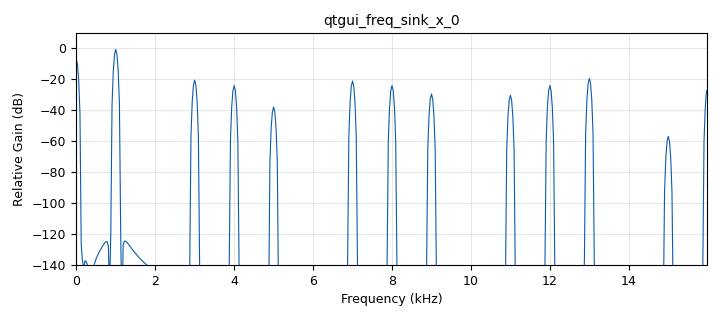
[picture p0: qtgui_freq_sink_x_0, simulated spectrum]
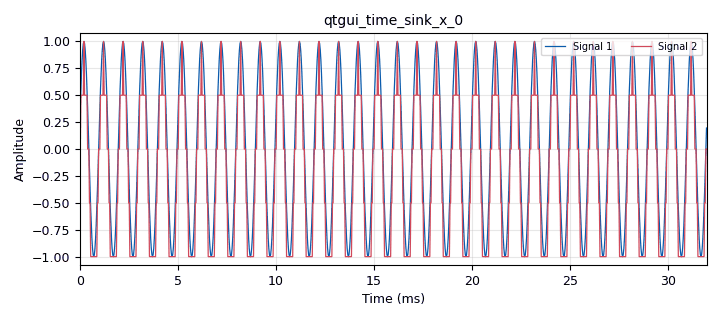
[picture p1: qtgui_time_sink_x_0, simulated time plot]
options:
  parameters:
    author: Steve Hageman
    copyright: None
    description: Test GRC File for Quantizer
    generate_options: qt_gui
    id: quantizer_embedded_python_block
    output_language: python
    title: 'Embedded Python Block: Quantizer'
  states: {}

blocks:
- name: freq
  id: variable_qtgui_range
  parameters:
    label: Signal Frequency
    start: 1e3
    step: '1'
    stop: 6e3
    value: 1e3
  states: {}
- name: samp_rate
  id: variable
  parameters:
    value: '32000'
  states: {}
- name: Quantizer
  id: epy_block
  parameters:
    _source_code: |
      """
      A Simple Signal Quantizer for GNURadio, written as an embedded Python Block.
      Freeware
      Steve Hageman, 30Aug24
      """

      import numpy as np
      from gnuradio import gr


      class blk(gr.sync_block):  # other base classes are basic_block, decim_block, interp_block
          """Embedded Python Block - Quantizer"""

          def __init__(self, bits=255, vref=1.0, clipping=False):  # only default arguments here
              """ bits (int)      = The number of bits to quantize to
                  vref (float)    = The reference voltage, the range is from: (-vref) to (+vref - 1 LSB)
                  clipping (bool) = Flag to specify if the output signal is to be clipped to the
                                    range: (-vref) to (+vref - 1 LSB) as would be in a real ADC or DAC.
                                    Default is no clipping.
              """
              gr.sync_block.__init__(
                  self,
                  name='Quantizer',   # will show up in GRC
                  in_sig=[np.float32],
                  out_sig=[np.float32]
              )

              # Calculate variables needed
              self.vref = vref
              self.levels = (2**bits)/2
              self.vmax = vref - (vref / self.levels)
              self.vmin = -vref

              if not clipping:
                  # If not clipping, then the clip range is +/- Infinity
                  self.vmax = np.finfo(np.float32).max
                  self.vmin = np.finfo(np.float32).min

          def work(self, input_items, output_items):

              # The np.floor() function quantized the signal, the np.clip function clips the signal to the range specified.
              output_items[0][:] = np.clip((np.floor(input_items[0]/self.vref*self.levels) / self.levels) * self.vref, a_max=self.vmax, a_min=self.vmin)

              return len(output_items[0])
    bits: '2'
    clipping: 'False'
    comment: 'Embedded Python Block: Quantizer'
    vref: '1.0'
  states: {}
- name: analog_sig_source_x_0
  id: analog_sig_source_x
  parameters:
    amp: '1'
    comment: Simple Sine Wave Input
    freq: freq
    offset: '0'
    phase: '0'
    samp_rate: samp_rate
    type: float
    waveform: analog.GR_COS_WAVE
  states: {}
- name: blocks_multiply_const_vxx_0
  id: blocks_multiply_const_vxx
  parameters:
    comment: Scale factor for FFT Plot
    const: 10**(15/20)
    type: float
  states: {}
- name: blocks_throttle2_0
  id: blocks_throttle2
  parameters:
    samples_per_second: samp_rate
    type: float
  states: {}
- name: qtgui_freq_sink_x_0
  id: qtgui_freq_sink_x
  parameters:
    bw: samp_rate
    comment: FFT Plot
    fc: '0'
    fftsize: '1024'
    freqhalf: 'False'
    grid: 'True'
    type: float
  states: {}
- name: qtgui_time_sink_x_0
  id: qtgui_time_sink_x
  parameters:
    comment: Compare input to output signal
    nconnections: '2'
    size: '1024'
    srate: samp_rate
    tr_level: '0.5'
    tr_mode: qtgui.TRIG_MODE_NORM
    type: float
  states: {}

connections:
- [Quantizer, '0', blocks_multiply_const_vxx_0, '0']
- [Quantizer, '0', qtgui_time_sink_x_0, '1']
- [analog_sig_source_x_0, '0', Quantizer, '0']
- [analog_sig_source_x_0, '0', blocks_throttle2_0, '0']
- [analog_sig_source_x_0, '0', qtgui_time_sink_x_0, '0']
- [blocks_multiply_const_vxx_0, '0', qtgui_freq_sink_x_0, '0']

metadata:
  file_format: 1
  grc_version: 3.10.10.0
